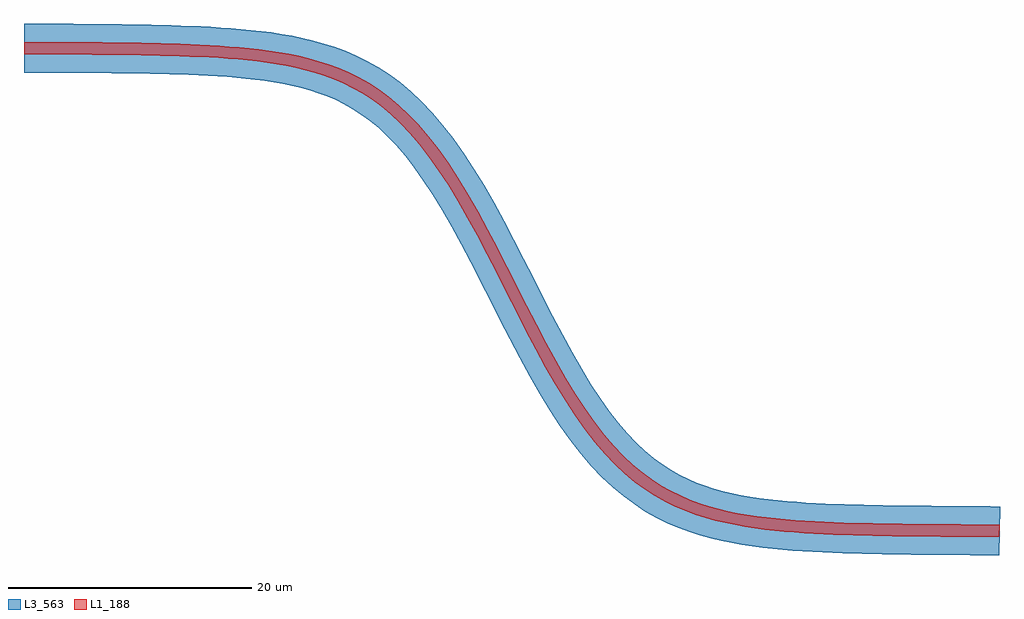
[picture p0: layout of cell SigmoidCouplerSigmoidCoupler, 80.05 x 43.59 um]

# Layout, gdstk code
import gdstk
lib = gdstk.Library(unit=1e-6, precision=1e-09)
L1_188 = (1, 188)
L3_563 = (3, 563)

sigmoidcouplersigmoidcou = lib.new_cell('SigmoidCouplerSigmoidCoupler')
sigmoidcouplersigmoidcou.add(gdstk.FlexPath([(-40,39.594),(-39.2,39.591),(-38.4,39.589),(-37.6,39.586),(-36.8,39.582),(-36,39.577),(-35.2,39.572),(-34.4,39.566),(-33.6,39.559),(-32.8,39.551),(-32,39.541),(-31.2,39.53),(-30.4,39.517),(-29.6,39.501),(-28.8,39.483),(-28,39.461),(-27.2,39.436),(-26.4,39.406),(-25.6,39.372),(-24.8,39.331),(-24,39.284),(-23.2,39.228),(-22.4,39.163),(-21.6,39.087),(-20.8,38.998),(-20,38.895),(-19.2,38.774),(-18.4,38.633),(-17.6,38.468),(-16.8,38.277),(-16,38.056),(-15.2,37.799),(-14.4,37.502),(-13.6,37.159),(-12.8,36.765),(-12,36.313),(-11.2,35.796),(-10.4,35.208),(-9.6,34.543),(-8.8,33.793),(-8,32.954),(-7.2,32.02),(-6.4,30.99),(-5.6,29.863),(-4.8,28.641),(-4,27.328),(-3.2,25.933),(-2.4,24.467),(-1.6,22.945),(-0.8,21.384),(0,19.804),(0.8,18.223),(1.6,16.662),(2.4,15.14),(3.2,13.674),(4,12.279),(4.8,10.966),(5.6,9.744),(6.4,8.617),(7.2,7.587),(8,6.653),(8.8,5.814),(9.6,5.064),(10.4,4.399),(11.2,3.811),(12,3.294),(12.8,2.842),(13.6,2.448),(14.4,2.105),(15.2,1.808),(16,1.551),(16.8,1.33),(17.6,1.139),(18.4,0.974),(19.2,0.833),(20,0.712),(20.8,0.609),(21.6,0.52),(22.4,0.444),(23.2,0.379),(24,0.323),(24.8,0.276),(25.6,0.235),(26.4,0.201),(27.2,0.171),(28,0.146),(28.8,0.124),(29.6,0.106),(30.4,0.09),(31.2,0.077),(32,0.066),(32.8,0.056),(33.6,0.048),(34.4,0.041),(35.2,0.035),(36,0.03),(36.8,0.025),(37.6,0.021),(38.4,0.018),(39.2,0.016),(40,0)], 1, ends="flush", simple_path=True, layer=1, datatype=188))  # L1_188
sigmoidcouplersigmoidcou.add(gdstk.FlexPath([(-40,39.594),(-39.2,39.591),(-38.4,39.589),(-37.6,39.586),(-36.8,39.582),(-36,39.577),(-35.2,39.572),(-34.4,39.566),(-33.6,39.559),(-32.8,39.551),(-32,39.541),(-31.2,39.53),(-30.4,39.517),(-29.6,39.501),(-28.8,39.483),(-28,39.461),(-27.2,39.436),(-26.4,39.406),(-25.6,39.372),(-24.8,39.331),(-24,39.284),(-23.2,39.228),(-22.4,39.163),(-21.6,39.087),(-20.8,38.998),(-20,38.895),(-19.2,38.774),(-18.4,38.633),(-17.6,38.468),(-16.8,38.277),(-16,38.056),(-15.2,37.799),(-14.4,37.502),(-13.6,37.159),(-12.8,36.765),(-12,36.313),(-11.2,35.796),(-10.4,35.208),(-9.6,34.543),(-8.8,33.793),(-8,32.954),(-7.2,32.02),(-6.4,30.99),(-5.6,29.863),(-4.8,28.641),(-4,27.328),(-3.2,25.933),(-2.4,24.467),(-1.6,22.945),(-0.8,21.384),(0,19.804),(0.8,18.223),(1.6,16.662),(2.4,15.14),(3.2,13.674),(4,12.279),(4.8,10.966),(5.6,9.744),(6.4,8.617),(7.2,7.587),(8,6.653),(8.8,5.814),(9.6,5.064),(10.4,4.399),(11.2,3.811),(12,3.294),(12.8,2.842),(13.6,2.448),(14.4,2.105),(15.2,1.808),(16,1.551),(16.8,1.33),(17.6,1.139),(18.4,0.974),(19.2,0.833),(20,0.712),(20.8,0.609),(21.6,0.52),(22.4,0.444),(23.2,0.379),(24,0.323),(24.8,0.276),(25.6,0.235),(26.4,0.201),(27.2,0.171),(28,0.146),(28.8,0.124),(29.6,0.106),(30.4,0.09),(31.2,0.077),(32,0.066),(32.8,0.056),(33.6,0.048),(34.4,0.041),(35.2,0.035),(36,0.03),(36.8,0.025),(37.6,0.021),(38.4,0.018),(39.2,0.016),(40,0)], 4, ends="flush", simple_path=True, layer=3, datatype=563))  # L3_563

lib.write_gds('SigmoidCouplerSigmoidCoupler.gds')
